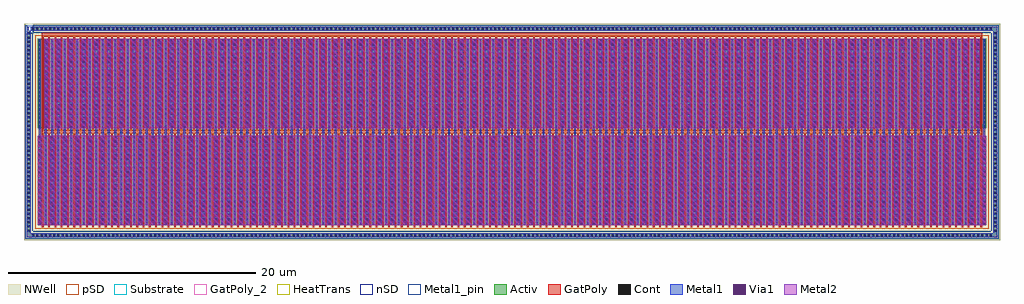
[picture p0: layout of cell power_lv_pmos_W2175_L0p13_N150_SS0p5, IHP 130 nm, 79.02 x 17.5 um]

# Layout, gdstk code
import gdstk
lib = gdstk.Library(unit=1e-6, precision=1e-09)
def R(c, l, rs):  # rectangles x0, y0, x1, y1
    for r in rs: c.add(gdstk.rectangle(r[:2], r[2:], *l))
def A(c, l, x, y, w, h, nx, ny, dx, dy):  # array of equal rectangles
    R(c, l, [(x+i*dx, y+j*dy, x+i*dx+w, y+j*dy+h) for i in range(nx) for j in range(ny)])
def P(c, l, *ps):  # polygons
    for p in ps: c.add(gdstk.Polygon(p, *l))
Activ = (1, 0)
GatPoly = (5, 0)
GatPoly_2 = (5, 2)
Cont = (6, 0)
nSD = (7, 0)
Metal1 = (8, 0)
Metal1_pin = (8, 2)
Metal2 = (10, 0)
pSD = (14, 0)
Via1 = (19, 0)
NWell = (31, 0)
Substrate = (40, 0)
HeatTrans = (51, 0)

pmos_w1087p5_l0p13_n150_ = lib.new_cell('pmos_W1087p5_L0p13_N150_M1_Msg13_lv_pmos')
A(pmos_w1087p5_l0p13_n150_, Activ, 0, 0, 0.3, 0.3, 151, 1, 0.51, 0)
R(pmos_w1087p5_l0p13_n150_, Activ, [(0,0,76.8,7.25)])
A(pmos_w1087p5_l0p13_n150_, GatPoly, 0.34, -0.18, 0.13, 7.61, 150, 1, 0.51, 0)
A(pmos_w1087p5_l0p13_n150_, GatPoly_2, 0.34, -0.18, 0.13, 7.61, 150, 1, 0.51, 0)
R(pmos_w1087p5_l0p13_n150_, GatPoly_2, [(0.34,-0.18,0.47,7.43)])
A(pmos_w1087p5_l0p13_n150_, Cont, 0.07, 0.07, 0.16, 0.16, 151, 2, 0.51, 0.345)
A(pmos_w1087p5_l0p13_n150_, Cont, 0.07, 0.765, 0.16, 0.16, 151, 2, 0.51, 0.345)
A(pmos_w1087p5_l0p13_n150_, Cont, 0.07, 1.46, 0.16, 0.16, 151, 2, 0.51, 0.345)
A(pmos_w1087p5_l0p13_n150_, Cont, 0.07, 2.155, 0.16, 0.16, 151, 2, 0.51, 0.345)
A(pmos_w1087p5_l0p13_n150_, Cont, 0.07, 2.85, 0.16, 0.16, 151, 2, 0.51, 0.345)
A(pmos_w1087p5_l0p13_n150_, Cont, 0.07, 3.545, 0.16, 0.16, 151, 2, 0.51, 0.345)
A(pmos_w1087p5_l0p13_n150_, Cont, 0.07, 4.24, 0.16, 0.16, 151, 2, 0.51, 0.345)
A(pmos_w1087p5_l0p13_n150_, Cont, 0.07, 4.935, 0.16, 0.16, 151, 2, 0.51, 0.345)
A(pmos_w1087p5_l0p13_n150_, Cont, 0.07, 5.63, 0.16, 0.16, 151, 2, 0.51, 0.345)
A(pmos_w1087p5_l0p13_n150_, Cont, 0.07, 6.325, 0.16, 0.16, 151, 2, 0.51, 0.345)
A(pmos_w1087p5_l0p13_n150_, Cont, 0.07, 7.02, 0.16, 0.16, 151, 1, 0.51, 0)
A(pmos_w1087p5_l0p13_n150_, Metal1, 0.07, 0, 0.16, 7.25, 151, 1, 0.51, 0)
A(pmos_w1087p5_l0p13_n150_, Metal1_pin, 0.07, 0, 0.16, 7.25, 151, 1, 0.51, 0)
R(pmos_w1087p5_l0p13_n150_, pSD, [(-0.18,-0.3,76.98,7.55)])
R(pmos_w1087p5_l0p13_n150_, NWell, [(-0.31,-0.31,77.11,7.56)])
R(pmos_w1087p5_l0p13_n150_, Substrate, [(76.5,0,76.8,0.3)])
A(pmos_w1087p5_l0p13_n150_, HeatTrans, 0.34, -0.18, 0.13, 7.61, 150, 1, 0.51, 0)

rectangle_gdsfactorypcom = lib.new_cell('rectangle_gdsfactorypcomponentspshapesprectangle_S0p3_7_2a4d8393')
R(rectangle_gdsfactorypcom, Metal1, [(-0.15,-3.625,0.15,3.625)])

c_rectangle_gdsfactorypcom = lib.new_cell('rectangle_gdsfactorypcomponentspshapesprectangle_S0p3_7_a94d041a')
R(c_rectangle_gdsfactorypcom, Metal2, [(-0.15,-3.625,0.15,3.625)])

c_rectangle_gdsfactorypcom_ = lib.new_cell('rectangle_gdsfactorypcomponentspshapesprectangle_S0p19__c3060a3f')
R(c_rectangle_gdsfactorypcom_, Via1, [(0,0,0.19,0.19)])

via_array_vtvia1_c1_r15_ = lib.new_cell('via_array_VTVia1_C1_R15_VS0p19_VS0p48_VE0p06_LCContdraw_a6a22122')
via_array_vtvia1_c1_r15_.add(gdstk.Reference(c_rectangle_gdsfactorypcom_, (0,0)))
via_array_vtvia1_c1_r15_.add(gdstk.Reference(c_rectangle_gdsfactorypcom_, (0,0.48)))
via_array_vtvia1_c1_r15_.add(gdstk.Reference(c_rectangle_gdsfactorypcom_, (0,0.96)))
via_array_vtvia1_c1_r15_.add(gdstk.Reference(c_rectangle_gdsfactorypcom_, (0,1.44)))
via_array_vtvia1_c1_r15_.add(gdstk.Reference(c_rectangle_gdsfactorypcom_, (0,1.92)))
via_array_vtvia1_c1_r15_.add(gdstk.Reference(c_rectangle_gdsfactorypcom_, (0,2.4)))
via_array_vtvia1_c1_r15_.add(gdstk.Reference(c_rectangle_gdsfactorypcom_, (0,2.88)))
via_array_vtvia1_c1_r15_.add(gdstk.Reference(c_rectangle_gdsfactorypcom_, (0,3.36)))
via_array_vtvia1_c1_r15_.add(gdstk.Reference(c_rectangle_gdsfactorypcom_, (0,3.84)))
via_array_vtvia1_c1_r15_.add(gdstk.Reference(c_rectangle_gdsfactorypcom_, (0,4.32)))
via_array_vtvia1_c1_r15_.add(gdstk.Reference(c_rectangle_gdsfactorypcom_, (0,4.8)))
via_array_vtvia1_c1_r15_.add(gdstk.Reference(c_rectangle_gdsfactorypcom_, (0,5.28)))
via_array_vtvia1_c1_r15_.add(gdstk.Reference(c_rectangle_gdsfactorypcom_, (0,5.76)))
via_array_vtvia1_c1_r15_.add(gdstk.Reference(c_rectangle_gdsfactorypcom_, (0,6.24)))
via_array_vtvia1_c1_r15_.add(gdstk.Reference(c_rectangle_gdsfactorypcom_, (0,6.72)))

via_stack_blmetal1_tlmet = lib.new_cell('via_stack_BLMetal1_TLMetal2_S0p3_7p25_VC1_VR15_VC1_VR1__409d7f9b')
via_stack_blmetal1_tlmet.add(gdstk.Reference(rectangle_gdsfactorypcom, (0,0)))
via_stack_blmetal1_tlmet.add(gdstk.Reference(c_rectangle_gdsfactorypcom, (0,0)))
via_stack_blmetal1_tlmet.add(gdstk.Reference(via_array_vtvia1_c1_r15_, (-0.095,-3.455)))

unnamed_11 = lib.new_cell('Unnamed_11')
P(unnamed_11, Activ, [(-0.56,-0.65),(-0.56,16.37),(-0.24,16.37),(-0.24,-0.33),(77.66,-0.33),(77.66,16.05),(-0.4,16.05),(-0.4,16.37),(77.98,16.37),(77.98,-0.65)])

unnamed_12 = lib.new_cell('Unnamed_12')
P(unnamed_12, Metal1, [(-0.56,-0.65),(-0.56,16.37),(-0.24,16.37),(-0.24,-0.33),(77.66,-0.33),(77.66,16.05),(-0.4,16.05),(-0.4,16.37),(77.98,16.37),(77.98,-0.65)])

unnamed_13 = lib.new_cell('Unnamed_13')
P(unnamed_13, nSD, [(-0.7,-0.79),(-0.7,16.51),(-0.1,16.51),(-0.1,-0.19),(77.52,-0.19),(77.52,15.91),(-0.54,15.91),(-0.54,16.51),(78.12,16.51),(78.12,-0.79)])

unnamed_14 = lib.new_cell('Unnamed_14')
P(unnamed_14, NWell, [(-0.8,-0.89),(-0.8,16.61),(0,16.61),(0,-0.09),(77.42,-0.09),(77.42,15.81),(-0.64,15.81),(-0.64,16.61),(78.22,16.61),(78.22,-0.89)])

guard_ring_w0p32_g0p24_g = lib.new_cell('guard_ring_W0p32_G0p24_Gnwell_B0_m0p09_77p42_15p81_PNon_905d191b')
A(guard_ring_w0p32_g0p24_g, Cont, -0.13, -0.57, 0.16, 0.16, 229, 2, 0.34, 16.7)
A(guard_ring_w0p32_g0p24_g, Cont, -0.48, -0.21, 0.16, 0.16, 1, 48, 0, 0.34)
A(guard_ring_w0p32_g0p24_g, Cont, 77.74, -0.21, 0.16, 0.16, 1, 48, 0, 0.34)
guard_ring_w0p32_g0p24_g.add(gdstk.Reference(unnamed_11, (0,0)))
guard_ring_w0p32_g0p24_g.add(gdstk.Reference(unnamed_12, (0,0)))
guard_ring_w0p32_g0p24_g.add(gdstk.Reference(unnamed_13, (0,0)))
guard_ring_w0p32_g0p24_g.add(gdstk.Reference(unnamed_14, (0,0)))

power_lv_pmos_w2175_l0p1 = lib.new_cell('power_lv_pmos_W2175_L0p13_N150_SS0p5')
R(power_lv_pmos_w2175_l0p1, GatPoly, [(0.65,7.74,76.77,8.04), (0.65,15.59,76.77,15.89)])
A(power_lv_pmos_w2175_l0p1, Metal1, 0.38, 7.56, 0.16, 0.6, 151, 1, 0.51, 0)
R(power_lv_pmos_w2175_l0p1, Metal2, [(0.38,0.31,77.04,7.56), (0.89,8.16,76.53,15.41)])
power_lv_pmos_w2175_l0p1.add(gdstk.Reference(pmos_w1087p5_l0p13_n150_, (0.31,0.31)))
power_lv_pmos_w2175_l0p1.add(gdstk.Reference(pmos_w1087p5_l0p13_n150_, (0.31,8.16)))
power_lv_pmos_w2175_l0p1.add(gdstk.Reference(via_stack_blmetal1_tlmet, (38.71,11.785)))
power_lv_pmos_w2175_l0p1.add(gdstk.Reference(guard_ring_w0p32_g0p24_g, (0,0)))
power_lv_pmos_w2175_l0p1.add(gdstk.Reference(via_stack_blmetal1_tlmet, (41.26,3.935)))
power_lv_pmos_w2175_l0p1.add(gdstk.Reference(via_stack_blmetal1_tlmet, (42.28,3.935)))
power_lv_pmos_w2175_l0p1.add(gdstk.Reference(via_stack_blmetal1_tlmet, (43.3,3.935)))
power_lv_pmos_w2175_l0p1.add(gdstk.Reference(via_stack_blmetal1_tlmet, (44.32,3.935)))
power_lv_pmos_w2175_l0p1.add(gdstk.Reference(via_stack_blmetal1_tlmet, (45.34,3.935)))
power_lv_pmos_w2175_l0p1.add(gdstk.Reference(via_stack_blmetal1_tlmet, (46.36,3.935)))
power_lv_pmos_w2175_l0p1.add(gdstk.Reference(via_stack_blmetal1_tlmet, (47.38,3.935)))
power_lv_pmos_w2175_l0p1.add(gdstk.Reference(via_stack_blmetal1_tlmet, (48.4,3.935)))
power_lv_pmos_w2175_l0p1.add(gdstk.Reference(via_stack_blmetal1_tlmet, (49.42,3.935)))
power_lv_pmos_w2175_l0p1.add(gdstk.Reference(via_stack_blmetal1_tlmet, (50.44,3.935)))
power_lv_pmos_w2175_l0p1.add(gdstk.Reference(via_stack_blmetal1_tlmet, (51.46,3.935)))
power_lv_pmos_w2175_l0p1.add(gdstk.Reference(via_stack_blmetal1_tlmet, (52.48,3.935)))
power_lv_pmos_w2175_l0p1.add(gdstk.Reference(via_stack_blmetal1_tlmet, (53.5,3.935)))
power_lv_pmos_w2175_l0p1.add(gdstk.Reference(via_stack_blmetal1_tlmet, (54.52,3.935)))
power_lv_pmos_w2175_l0p1.add(gdstk.Reference(via_stack_blmetal1_tlmet, (55.54,3.935)))
power_lv_pmos_w2175_l0p1.add(gdstk.Reference(via_stack_blmetal1_tlmet, (56.56,3.935)))
power_lv_pmos_w2175_l0p1.add(gdstk.Reference(via_stack_blmetal1_tlmet, (57.58,3.935)))
power_lv_pmos_w2175_l0p1.add(gdstk.Reference(via_stack_blmetal1_tlmet, (58.6,3.935)))
power_lv_pmos_w2175_l0p1.add(gdstk.Reference(via_stack_blmetal1_tlmet, (59.62,3.935)))
power_lv_pmos_w2175_l0p1.add(gdstk.Reference(via_stack_blmetal1_tlmet, (60.64,3.935)))
power_lv_pmos_w2175_l0p1.add(gdstk.Reference(via_stack_blmetal1_tlmet, (61.66,3.935)))
power_lv_pmos_w2175_l0p1.add(gdstk.Reference(via_stack_blmetal1_tlmet, (62.68,3.935)))
power_lv_pmos_w2175_l0p1.add(gdstk.Reference(via_stack_blmetal1_tlmet, (63.7,3.935)))
power_lv_pmos_w2175_l0p1.add(gdstk.Reference(via_stack_blmetal1_tlmet, (64.72,3.935)))
power_lv_pmos_w2175_l0p1.add(gdstk.Reference(via_stack_blmetal1_tlmet, (65.74,3.935)))
power_lv_pmos_w2175_l0p1.add(gdstk.Reference(via_stack_blmetal1_tlmet, (66.76,3.935)))
power_lv_pmos_w2175_l0p1.add(gdstk.Reference(via_stack_blmetal1_tlmet, (67.78,3.935)))
power_lv_pmos_w2175_l0p1.add(gdstk.Reference(via_stack_blmetal1_tlmet, (68.8,3.935)))
power_lv_pmos_w2175_l0p1.add(gdstk.Reference(via_stack_blmetal1_tlmet, (69.82,3.935)))
power_lv_pmos_w2175_l0p1.add(gdstk.Reference(via_stack_blmetal1_tlmet, (70.84,3.935)))
power_lv_pmos_w2175_l0p1.add(gdstk.Reference(via_stack_blmetal1_tlmet, (71.86,3.935)))
power_lv_pmos_w2175_l0p1.add(gdstk.Reference(via_stack_blmetal1_tlmet, (72.88,3.935)))
power_lv_pmos_w2175_l0p1.add(gdstk.Reference(via_stack_blmetal1_tlmet, (73.9,3.935)))
power_lv_pmos_w2175_l0p1.add(gdstk.Reference(via_stack_blmetal1_tlmet, (74.92,3.935)))
power_lv_pmos_w2175_l0p1.add(gdstk.Reference(via_stack_blmetal1_tlmet, (75.94,3.935)))
power_lv_pmos_w2175_l0p1.add(gdstk.Reference(via_stack_blmetal1_tlmet, (76.96,3.935)))
power_lv_pmos_w2175_l0p1.add(gdstk.Reference(via_stack_blmetal1_tlmet, (39.22,3.935)))
power_lv_pmos_w2175_l0p1.add(gdstk.Reference(via_stack_blmetal1_tlmet, (39.73,11.785)))
power_lv_pmos_w2175_l0p1.add(gdstk.Reference(via_stack_blmetal1_tlmet, (40.75,11.785)))
power_lv_pmos_w2175_l0p1.add(gdstk.Reference(via_stack_blmetal1_tlmet, (41.77,11.785)))
power_lv_pmos_w2175_l0p1.add(gdstk.Reference(via_stack_blmetal1_tlmet, (42.79,11.785)))
power_lv_pmos_w2175_l0p1.add(gdstk.Reference(via_stack_blmetal1_tlmet, (43.81,11.785)))
power_lv_pmos_w2175_l0p1.add(gdstk.Reference(via_stack_blmetal1_tlmet, (44.83,11.785)))
power_lv_pmos_w2175_l0p1.add(gdstk.Reference(via_stack_blmetal1_tlmet, (45.85,11.785)))
power_lv_pmos_w2175_l0p1.add(gdstk.Reference(via_stack_blmetal1_tlmet, (46.87,11.785)))
power_lv_pmos_w2175_l0p1.add(gdstk.Reference(via_stack_blmetal1_tlmet, (47.89,11.785)))
power_lv_pmos_w2175_l0p1.add(gdstk.Reference(via_stack_blmetal1_tlmet, (48.91,11.785)))
power_lv_pmos_w2175_l0p1.add(gdstk.Reference(via_stack_blmetal1_tlmet, (49.93,11.785)))
power_lv_pmos_w2175_l0p1.add(gdstk.Reference(via_stack_blmetal1_tlmet, (50.95,11.785)))
power_lv_pmos_w2175_l0p1.add(gdstk.Reference(via_stack_blmetal1_tlmet, (51.97,11.785)))
power_lv_pmos_w2175_l0p1.add(gdstk.Reference(via_stack_blmetal1_tlmet, (52.99,11.785)))
power_lv_pmos_w2175_l0p1.add(gdstk.Reference(via_stack_blmetal1_tlmet, (54.01,11.785)))
power_lv_pmos_w2175_l0p1.add(gdstk.Reference(via_stack_blmetal1_tlmet, (55.03,11.785)))
power_lv_pmos_w2175_l0p1.add(gdstk.Reference(via_stack_blmetal1_tlmet, (56.05,11.785)))
power_lv_pmos_w2175_l0p1.add(gdstk.Reference(via_stack_blmetal1_tlmet, (57.07,11.785)))
power_lv_pmos_w2175_l0p1.add(gdstk.Reference(via_stack_blmetal1_tlmet, (58.09,11.785)))
power_lv_pmos_w2175_l0p1.add(gdstk.Reference(via_stack_blmetal1_tlmet, (59.11,11.785)))
power_lv_pmos_w2175_l0p1.add(gdstk.Reference(via_stack_blmetal1_tlmet, (60.13,11.785)))
power_lv_pmos_w2175_l0p1.add(gdstk.Reference(via_stack_blmetal1_tlmet, (61.15,11.785)))
power_lv_pmos_w2175_l0p1.add(gdstk.Reference(via_stack_blmetal1_tlmet, (62.17,11.785)))
power_lv_pmos_w2175_l0p1.add(gdstk.Reference(via_stack_blmetal1_tlmet, (63.19,11.785)))
power_lv_pmos_w2175_l0p1.add(gdstk.Reference(via_stack_blmetal1_tlmet, (64.21,11.785)))
power_lv_pmos_w2175_l0p1.add(gdstk.Reference(via_stack_blmetal1_tlmet, (65.23,11.785)))
power_lv_pmos_w2175_l0p1.add(gdstk.Reference(via_stack_blmetal1_tlmet, (66.25,11.785)))
power_lv_pmos_w2175_l0p1.add(gdstk.Reference(via_stack_blmetal1_tlmet, (67.27,11.785)))
power_lv_pmos_w2175_l0p1.add(gdstk.Reference(via_stack_blmetal1_tlmet, (68.29,11.785)))
power_lv_pmos_w2175_l0p1.add(gdstk.Reference(via_stack_blmetal1_tlmet, (69.31,11.785)))
power_lv_pmos_w2175_l0p1.add(gdstk.Reference(via_stack_blmetal1_tlmet, (70.33,11.785)))
power_lv_pmos_w2175_l0p1.add(gdstk.Reference(via_stack_blmetal1_tlmet, (71.35,11.785)))
power_lv_pmos_w2175_l0p1.add(gdstk.Reference(via_stack_blmetal1_tlmet, (72.37,11.785)))
power_lv_pmos_w2175_l0p1.add(gdstk.Reference(via_stack_blmetal1_tlmet, (73.39,11.785)))
power_lv_pmos_w2175_l0p1.add(gdstk.Reference(via_stack_blmetal1_tlmet, (74.41,11.785)))
power_lv_pmos_w2175_l0p1.add(gdstk.Reference(via_stack_blmetal1_tlmet, (75.43,11.785)))
power_lv_pmos_w2175_l0p1.add(gdstk.Reference(via_stack_blmetal1_tlmet, (76.45,11.785)))
power_lv_pmos_w2175_l0p1.add(gdstk.Reference(via_stack_blmetal1_tlmet, (40.24,3.935)))
power_lv_pmos_w2175_l0p1.add(gdstk.Reference(via_stack_blmetal1_tlmet, (1.99,11.785)))
power_lv_pmos_w2175_l0p1.add(gdstk.Reference(via_stack_blmetal1_tlmet, (3.01,11.785)))
power_lv_pmos_w2175_l0p1.add(gdstk.Reference(via_stack_blmetal1_tlmet, (4.03,11.785)))
power_lv_pmos_w2175_l0p1.add(gdstk.Reference(via_stack_blmetal1_tlmet, (5.05,11.785)))
power_lv_pmos_w2175_l0p1.add(gdstk.Reference(via_stack_blmetal1_tlmet, (6.07,11.785)))
power_lv_pmos_w2175_l0p1.add(gdstk.Reference(via_stack_blmetal1_tlmet, (7.09,11.785)))
power_lv_pmos_w2175_l0p1.add(gdstk.Reference(via_stack_blmetal1_tlmet, (8.11,11.785)))
power_lv_pmos_w2175_l0p1.add(gdstk.Reference(via_stack_blmetal1_tlmet, (9.13,11.785)))
power_lv_pmos_w2175_l0p1.add(gdstk.Reference(via_stack_blmetal1_tlmet, (10.15,11.785)))
power_lv_pmos_w2175_l0p1.add(gdstk.Reference(via_stack_blmetal1_tlmet, (11.17,11.785)))
power_lv_pmos_w2175_l0p1.add(gdstk.Reference(via_stack_blmetal1_tlmet, (12.19,11.785)))
power_lv_pmos_w2175_l0p1.add(gdstk.Reference(via_stack_blmetal1_tlmet, (13.21,11.785)))
power_lv_pmos_w2175_l0p1.add(gdstk.Reference(via_stack_blmetal1_tlmet, (14.23,11.785)))
power_lv_pmos_w2175_l0p1.add(gdstk.Reference(via_stack_blmetal1_tlmet, (15.25,11.785)))
power_lv_pmos_w2175_l0p1.add(gdstk.Reference(via_stack_blmetal1_tlmet, (16.27,11.785)))
power_lv_pmos_w2175_l0p1.add(gdstk.Reference(via_stack_blmetal1_tlmet, (17.29,11.785)))
power_lv_pmos_w2175_l0p1.add(gdstk.Reference(via_stack_blmetal1_tlmet, (18.31,11.785)))
power_lv_pmos_w2175_l0p1.add(gdstk.Reference(via_stack_blmetal1_tlmet, (19.33,11.785)))
power_lv_pmos_w2175_l0p1.add(gdstk.Reference(via_stack_blmetal1_tlmet, (20.35,11.785)))
power_lv_pmos_w2175_l0p1.add(gdstk.Reference(via_stack_blmetal1_tlmet, (21.37,11.785)))
power_lv_pmos_w2175_l0p1.add(gdstk.Reference(via_stack_blmetal1_tlmet, (22.39,11.785)))
power_lv_pmos_w2175_l0p1.add(gdstk.Reference(via_stack_blmetal1_tlmet, (23.41,11.785)))
power_lv_pmos_w2175_l0p1.add(gdstk.Reference(via_stack_blmetal1_tlmet, (24.43,11.785)))
power_lv_pmos_w2175_l0p1.add(gdstk.Reference(via_stack_blmetal1_tlmet, (25.45,11.785)))
power_lv_pmos_w2175_l0p1.add(gdstk.Reference(via_stack_blmetal1_tlmet, (26.47,11.785)))
power_lv_pmos_w2175_l0p1.add(gdstk.Reference(via_stack_blmetal1_tlmet, (27.49,11.785)))
power_lv_pmos_w2175_l0p1.add(gdstk.Reference(via_stack_blmetal1_tlmet, (28.51,11.785)))
power_lv_pmos_w2175_l0p1.add(gdstk.Reference(via_stack_blmetal1_tlmet, (29.53,11.785)))
power_lv_pmos_w2175_l0p1.add(gdstk.Reference(via_stack_blmetal1_tlmet, (30.55,11.785)))
power_lv_pmos_w2175_l0p1.add(gdstk.Reference(via_stack_blmetal1_tlmet, (31.57,11.785)))
power_lv_pmos_w2175_l0p1.add(gdstk.Reference(via_stack_blmetal1_tlmet, (32.59,11.785)))
power_lv_pmos_w2175_l0p1.add(gdstk.Reference(via_stack_blmetal1_tlmet, (33.61,11.785)))
power_lv_pmos_w2175_l0p1.add(gdstk.Reference(via_stack_blmetal1_tlmet, (34.63,11.785)))
power_lv_pmos_w2175_l0p1.add(gdstk.Reference(via_stack_blmetal1_tlmet, (35.65,11.785)))
power_lv_pmos_w2175_l0p1.add(gdstk.Reference(via_stack_blmetal1_tlmet, (36.67,11.785)))
power_lv_pmos_w2175_l0p1.add(gdstk.Reference(via_stack_blmetal1_tlmet, (37.69,11.785)))
power_lv_pmos_w2175_l0p1.add(gdstk.Reference(via_stack_blmetal1_tlmet, (0.46,3.935)))
power_lv_pmos_w2175_l0p1.add(gdstk.Reference(via_stack_blmetal1_tlmet, (1.48,3.935)))
power_lv_pmos_w2175_l0p1.add(gdstk.Reference(via_stack_blmetal1_tlmet, (2.5,3.935)))
power_lv_pmos_w2175_l0p1.add(gdstk.Reference(via_stack_blmetal1_tlmet, (3.52,3.935)))
power_lv_pmos_w2175_l0p1.add(gdstk.Reference(via_stack_blmetal1_tlmet, (4.54,3.935)))
power_lv_pmos_w2175_l0p1.add(gdstk.Reference(via_stack_blmetal1_tlmet, (5.56,3.935)))
power_lv_pmos_w2175_l0p1.add(gdstk.Reference(via_stack_blmetal1_tlmet, (6.58,3.935)))
power_lv_pmos_w2175_l0p1.add(gdstk.Reference(via_stack_blmetal1_tlmet, (7.6,3.935)))
power_lv_pmos_w2175_l0p1.add(gdstk.Reference(via_stack_blmetal1_tlmet, (8.62,3.935)))
power_lv_pmos_w2175_l0p1.add(gdstk.Reference(via_stack_blmetal1_tlmet, (9.64,3.935)))
power_lv_pmos_w2175_l0p1.add(gdstk.Reference(via_stack_blmetal1_tlmet, (10.66,3.935)))
power_lv_pmos_w2175_l0p1.add(gdstk.Reference(via_stack_blmetal1_tlmet, (11.68,3.935)))
power_lv_pmos_w2175_l0p1.add(gdstk.Reference(via_stack_blmetal1_tlmet, (12.7,3.935)))
power_lv_pmos_w2175_l0p1.add(gdstk.Reference(via_stack_blmetal1_tlmet, (13.72,3.935)))
power_lv_pmos_w2175_l0p1.add(gdstk.Reference(via_stack_blmetal1_tlmet, (14.74,3.935)))
power_lv_pmos_w2175_l0p1.add(gdstk.Reference(via_stack_blmetal1_tlmet, (15.76,3.935)))
power_lv_pmos_w2175_l0p1.add(gdstk.Reference(via_stack_blmetal1_tlmet, (16.78,3.935)))
power_lv_pmos_w2175_l0p1.add(gdstk.Reference(via_stack_blmetal1_tlmet, (17.8,3.935)))
power_lv_pmos_w2175_l0p1.add(gdstk.Reference(via_stack_blmetal1_tlmet, (18.82,3.935)))
power_lv_pmos_w2175_l0p1.add(gdstk.Reference(via_stack_blmetal1_tlmet, (19.84,3.935)))
power_lv_pmos_w2175_l0p1.add(gdstk.Reference(via_stack_blmetal1_tlmet, (20.86,3.935)))
power_lv_pmos_w2175_l0p1.add(gdstk.Reference(via_stack_blmetal1_tlmet, (21.88,3.935)))
power_lv_pmos_w2175_l0p1.add(gdstk.Reference(via_stack_blmetal1_tlmet, (22.9,3.935)))
power_lv_pmos_w2175_l0p1.add(gdstk.Reference(via_stack_blmetal1_tlmet, (23.92,3.935)))
power_lv_pmos_w2175_l0p1.add(gdstk.Reference(via_stack_blmetal1_tlmet, (24.94,3.935)))
power_lv_pmos_w2175_l0p1.add(gdstk.Reference(via_stack_blmetal1_tlmet, (25.96,3.935)))
power_lv_pmos_w2175_l0p1.add(gdstk.Reference(via_stack_blmetal1_tlmet, (26.98,3.935)))
power_lv_pmos_w2175_l0p1.add(gdstk.Reference(via_stack_blmetal1_tlmet, (28,3.935)))
power_lv_pmos_w2175_l0p1.add(gdstk.Reference(via_stack_blmetal1_tlmet, (29.02,3.935)))
power_lv_pmos_w2175_l0p1.add(gdstk.Reference(via_stack_blmetal1_tlmet, (30.04,3.935)))
power_lv_pmos_w2175_l0p1.add(gdstk.Reference(via_stack_blmetal1_tlmet, (31.06,3.935)))
power_lv_pmos_w2175_l0p1.add(gdstk.Reference(via_stack_blmetal1_tlmet, (32.08,3.935)))
power_lv_pmos_w2175_l0p1.add(gdstk.Reference(via_stack_blmetal1_tlmet, (33.1,3.935)))
power_lv_pmos_w2175_l0p1.add(gdstk.Reference(via_stack_blmetal1_tlmet, (34.12,3.935)))
power_lv_pmos_w2175_l0p1.add(gdstk.Reference(via_stack_blmetal1_tlmet, (35.14,3.935)))
power_lv_pmos_w2175_l0p1.add(gdstk.Reference(via_stack_blmetal1_tlmet, (36.16,3.935)))
power_lv_pmos_w2175_l0p1.add(gdstk.Reference(via_stack_blmetal1_tlmet, (37.18,3.935)))
power_lv_pmos_w2175_l0p1.add(gdstk.Reference(via_stack_blmetal1_tlmet, (38.2,3.935)))
power_lv_pmos_w2175_l0p1.add(gdstk.Reference(via_stack_blmetal1_tlmet, (0.97,11.785)))

lib.write_gds('power_lv_pmos_W2175_L0p13_N150_SS0p5.gds')
